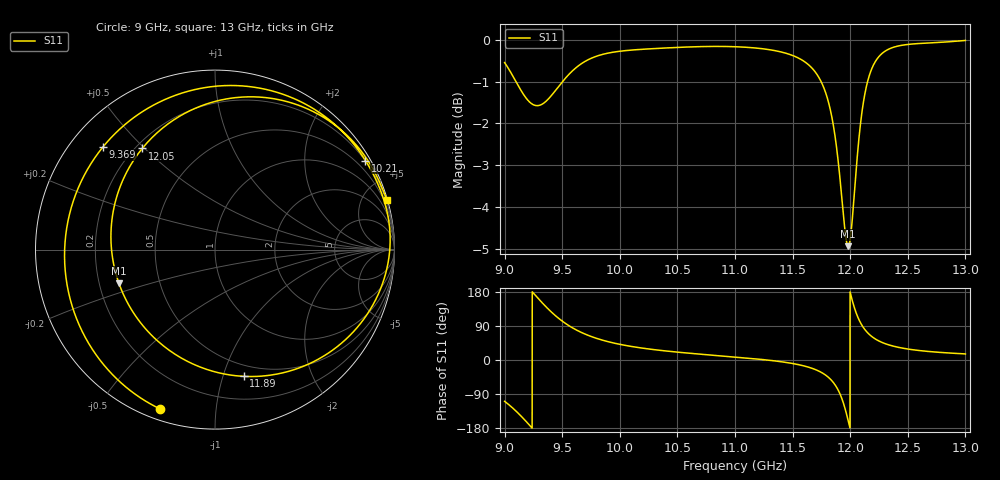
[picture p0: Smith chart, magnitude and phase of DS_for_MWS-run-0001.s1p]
! TOUCHSTONE file generated by CST DESIGN STUDIO
! Date and time: Tue Feb  4 16:20:35 2025
! Project name: C:\Work\MatlabApps\UnitCellOptimizationMatlab\CST\unitcell.cst
! Tree item: Tasks\Sweep1\SPara1\S-Parameters
! Header version: 2024
! Port assignment regex: !\s*Touchstone port\s*([0-9]+)\s*=\s*(CST MWS port|CST DES external port|CST DES block port)\s*(.+)\s* \(\"(.*)\"\)(\s*mode\s*([0-9]+))?.*
! Touchstone port assignment:
! Touchstone port 1 = CST DES external port 1 ("")
# GHz S MA R 50
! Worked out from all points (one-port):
!   4001 points, 9 GHz to 13 GHz, reference 50 ohm
!   lowest |S11| = -4.9 dB at 11.98 GHz (marker M1), VSWR 3.62, Z = 14.2 - j7.88 ohm
!   |S11| at or under -10 dB: nowhere
!   S11 on the Smith chart (normalised r, x): 9 GHz: 0.05, -0.71; 9.369 GHz: 0.10, +0.39; 10.21 GHz: 0.19, +3.64; 11.89 GHz: 0.39, -1.17; 12.05 GHz: 0.23, +0.49; 13 GHz: 0.06, +7.09
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9  0.9389 -109.1
9.093  0.8939 -133.1
9.201  0.847 -166.9
9.281  0.8342 166.0
9.369  0.8467 137.5
9.5  0.8902 102.7
9.598  0.9203 83.4
9.728  0.9467 64.7
10  0.9686 41.3
10.213  0.9741 30.6
10.5  0.9788 20.8
11  0.9807 7.8
11.5  0.9574 -9.2
11.652  0.9296 -20.2
11.754  0.8873 -33.5
11.829  0.8232 -50.9
11.892  0.7238 -77.3
11.939  0.6221 -111.8
11.983  0.5672 -160.6
12  0.5782 178.3
12.05  0.6943 125.7
12.08  0.7724 103.9
12.114  0.8409 85.9
12.164  0.9044 68.0
12.22  0.9424 55.1
12.332  0.9738 40.2
12.5  0.9868 29.0
13  0.9977 16.1
